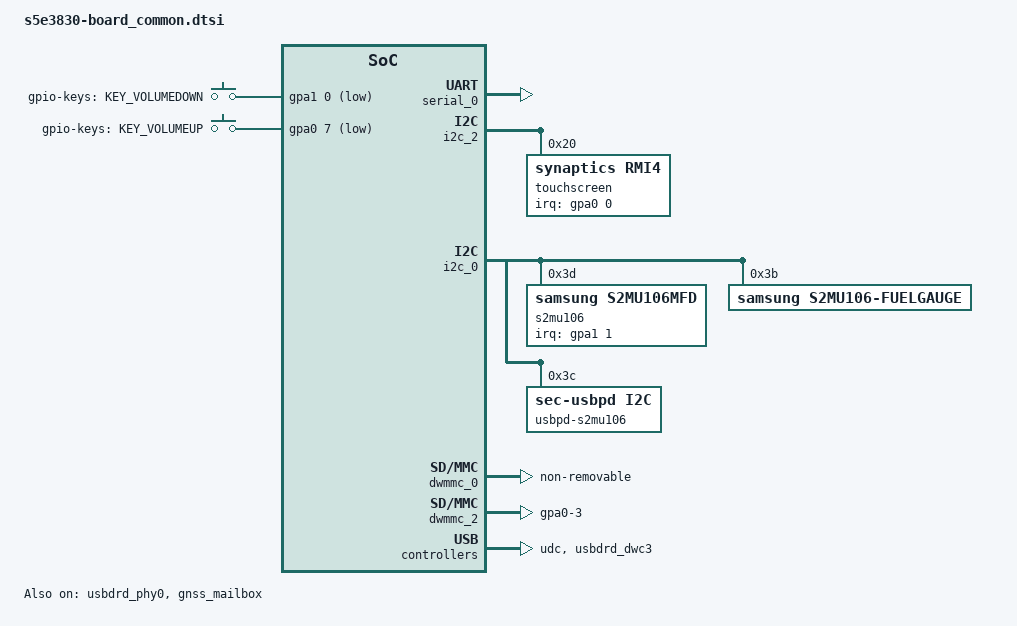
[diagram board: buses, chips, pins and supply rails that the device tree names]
/*
 * SAMSUNG EXYNOS9630 board common device tree source
 *
 * Copyright (c) 2019 Samsung Electronics Co., Ltd.
 *              http://www.samsung.com
 *
 * This program is free software; you can redistribute it and/or modify
 * it under the terms of the GNU General Public License version 2 as
 * published by the Free Software Foundation.
 */



/dts-v1/;
/plugin/;

#include <dt-bindings/interrupt-controller/s5e3830.h>
#include "erd3830-pmic.dtsi"
#include "battery_data_erd3830_common_s2mu106.dtsi"
//#include "s5e3830-erd3830-cp-s318ap-sit.dtsi"
#include "s5e3830-univ3830-cp-s318ap-sipc.dtsi"

/ {
        fragment@model {
                target-path = "/";
                __overlay__ {
                        #address-cells = <2>;
                        #size-cells = <1>;

                        gpio_keys {
                                status = "okay";
                                compatible = "gpio-keys";
                                pinctrl-names = "default";
                                pinctrl-0 = <&key_voldown &key_volup>;

                                button@1 {
                                        label = "gpio-keys: KEY_VOLUMEDOWN";
                                        linux,code = <114>;
                                        gpios = <&gpa1 0 0xf>;
                                };
                                button@2 {
                                        label = "gpio-keys: KEY_VOLUMEUP";
                                        linux,code = <115>;
                                        gpios = <&gpa0 7 0xf>;
                                };
                        };

			ifconn {
				status = "okay";
				compatible = "samsung,ifconn";
				ifconn,usbpd = "s2mu106";
				ifconn,muic = "s2mu106-muic";
			};

			dummy_audio_codec: audio-codec-dummy {
				compatible = "snd-soc-dummy";
				#sound-dai-cells = <0>;
			};

			sound {
				compatible = "samsung,exynos-sound";

				samsung,routing = "ABOX SPDY Capture", "VINPUT_FM",
					"BLUETOOTH SPK", "ABOX UAIF2 Playback",
					"ABOX UAIF2 Capture", "BLUETOOTH MIC",
					"ECHO SPK", "ABOX ECHO Playback",
					"ABOX ECHO Capture", "ECHO MIC",
					"FWD SPK", "ABOX FWD Playback",
					"ABOX FWD Capture", "FWD MIC";

				samsung,aux = <&abox_tplg>;

				rdma0 {
					cpu {
						sound-dai = <&abox_rdma_0 0>;
					};
					platform {
						sound-dai = <&abox_rdma_0 0>;
					};
				};
				rdma1 {
					cpu {
						sound-dai = <&abox_rdma_1 0>;
					};
					platform {
						sound-dai = <&abox_rdma_1 0>;
					};
				};
				rdma2 {
					cpu {
						sound-dai = <&abox_rdma_2 0>;
					};
					platform {
						sound-dai = <&abox_rdma_2 0>;
					};
				};
				rdma3 {
					cpu {
						sound-dai = <&abox_rdma_3 0>;
					};
					platform {
						sound-dai = <&abox_rdma_3 0>;
					};
				};
				rdma4 {
					cpu {
						sound-dai = <&abox_rdma_4 0>;
					};
					platform {
						sound-dai = <&abox_rdma_4 0>;
					};
				};
				rdma5 {
					cpu {
						sound-dai = <&abox_rdma_5 0>;
					};
					platform {
						sound-dai = <&abox_rdma_5 0>;
					};
				};
				rdma6 {
					cpu {
						sound-dai = <&abox_rdma_6 0>;
					};
					platform {
						sound-dai = <&abox_rdma_6 0>;
					};
				};
				rdma7 {
					cpu {
						sound-dai = <&abox_rdma_7 0>;
					};
					platform {
						sound-dai = <&abox_rdma_7 0>;
					};
				};
				rdma8 {
					cpu {
						sound-dai = <&abox_rdma_8 0>;
					};
					platform {
						sound-dai = <&abox_rdma_8 0>;
					};
				};
				rdma9 {
					cpu {
						sound-dai = <&abox_rdma_9 0>;
					};
					platform {
						sound-dai = <&abox_rdma_9 0>;
					};
				};
				rdma10 {
					cpu {
						sound-dai = <&abox_rdma_10 0>;
					};
					platform {
						sound-dai = <&abox_rdma_10 0>;
					};
				};
				rdma11 {
					cpu {
						sound-dai = <&abox_rdma_11 0>;
					};
					platform {
						sound-dai = <&abox_rdma_11 0>;
					};
				};
				wdma0 {
					cpu {
						sound-dai = <&abox_wdma_0 0>;
					};
					platform {
						sound-dai = <&abox_wdma_0 0>;
					};
				};
				wdma1 {
					cpu {
						sound-dai = <&abox_wdma_1 0>;
					};
					platform {
						sound-dai = <&abox_wdma_1 0>;
					};
				};
				wdma2 {
					cpu {
						sound-dai = <&abox_wdma_2 0>;
					};
					platform {
						sound-dai = <&abox_wdma_2 0>;
					};
				};
				wdma3 {
					cpu {
						sound-dai = <&abox_wdma_3 0>;
					};
					platform {
						sound-dai = <&abox_wdma_3 0>;
					};
				};
				wdma4 {
					cpu {
						sound-dai = <&abox_wdma_4 0>;
					};
					platform {
						sound-dai = <&abox_wdma_4 0>;
					};
				};
				dual0 {
					cpu {
						sound-dai = <&abox_dual_0>;
					};
					platform {
						sound-dai = <&abox_dual_0>;
					};
				};
				dual1 {
					cpu {
						sound-dai = <&abox_dual_1>;
					};
					platform {
						sound-dai = <&abox_dual_1>;
					};
				};
				dual2 {
					cpu {
						sound-dai = <&abox_dual_2>;
					};
					platform {
						sound-dai = <&abox_dual_2>;
					};
				};
				dual3 {
					cpu {
						sound-dai = <&abox_dual_3>;
					};
					platform {
						sound-dai = <&abox_dual_3>;
					};
				};
				dual4 {
					cpu {
						sound-dai = <&abox_dual_4>;
					};
					platform {
						sound-dai = <&abox_dual_4>;
					};
				};
				ddma0 {
					cpu {
						sound-dai = <&abox_ddma_0>;
					};
					platform {
						sound-dai = <&abox_ddma_0>;
					};
				};
				ddma1 {
					cpu {
						sound-dai = <&abox_ddma_1>;
					};
					platform {
						sound-dai = <&abox_ddma_1>;
					};
				};
				ddma2 {
					cpu {
						sound-dai = <&abox_ddma_2>;
					};
					platform {
						sound-dai = <&abox_ddma_2>;
					};
				};
				ddma3 {
					cpu {
						sound-dai = <&abox_ddma_3>;
					};
					platform {
						sound-dai = <&abox_ddma_3>;
					};
				};
				ddma4 {
					cpu {
						sound-dai = <&abox_ddma_4>;
					};
					platform {
						sound-dai = <&abox_ddma_4>;
					};
				};
				ddma5 {
					cpu {
						sound-dai = <&abox_ddma_5>;
					};
					platform {
						sound-dai = <&abox_ddma_5>;
					};
				};
				uaif0 {
					format = "i2s";
					cpu {
						sound-dai = <&abox_uaif_0>;
					};
					/*
					codec {
						sound-dai = <&codec_aud3004x>;
					};
					*/
				};
				uaif1 {
					format = "i2s";
					cpu {
						sound-dai = <&abox_uaif_1>;
					};
					/*
					codec {
						sound-dai = <&sma1303_amp>;
					};
					*/
				};
				uaif2 {
					format = "i2s";
					cpu {
						sound-dai = <&abox_uaif_2>;
					};
				};
				spdy {
					cpu {
						sound-dai = <&abox_spdy>;
					};
				};
				sifs0 {
					cpu {
						sound-dai = <&abox 0>;
					};
				};
				sifs1 {
					cpu {
						sound-dai = <&abox 1>;
					};
				};
				sifs2 {
					cpu {
						sound-dai = <&abox 2>;
					};
				};
				sifs3 {
					cpu {
						sound-dai = <&abox 3>;
					};
				};
				sifs4 {
					cpu {
						sound-dai = <&abox 4>;
					};
				};
				sifs5 {
					cpu {
						sound-dai = <&abox 5>;
					};
				};
				nsrc0 {
					cpu {
						sound-dai = <&abox 8>;
					};
				};
				nsrc1 {
					cpu {
						sound-dai = <&abox 9>;
					};
				};
				nsrc2 {
					cpu {
						sound-dai = <&abox 10>;
					};
				};
				nsrc3 {
					cpu {
						sound-dai = <&abox 11>;
					};
				};
				nsrc4 {
					cpu {
						sound-dai = <&abox 12>;
					};
				};
				rdma0_be {
					cpu {
						sound-dai = <&abox_rdma_0 1>;
					};
					platform {
						sound-dai = <&abox_rdma_0 1>;
					};
				};
				rdma1_be {
					cpu {
						sound-dai = <&abox_rdma_1 1>;
					};
					platform {
						sound-dai = <&abox_rdma_1 1>;
					};
				};
				rdma2_be {
					cpu {
						sound-dai = <&abox_rdma_2 1>;
					};
					platform {
						sound-dai = <&abox_rdma_2 1>;
					};
				};
				rdma3_be {
					cpu {
						sound-dai = <&abox_rdma_3 1>;
					};
					platform {
						sound-dai = <&abox_rdma_3 1>;
					};
				};
				rdma4_be {
					cpu {
						sound-dai = <&abox_rdma_4 1>;
					};
					platform {
						sound-dai = <&abox_rdma_4 1>;
					};
				};
				rdma5_be {
					cpu {
						sound-dai = <&abox_rdma_5 1>;
					};
					platform {
						sound-dai = <&abox_rdma_5 1>;
					};
				};
				rdma6_be {
					cpu {
						sound-dai = <&abox_rdma_6 1>;
					};
					platform {
						sound-dai = <&abox_rdma_6 1>;
					};
				};
				rdma7_be {
					cpu {
						sound-dai = <&abox_rdma_7 1>;
					};
					platform {
						sound-dai = <&abox_rdma_7 1>;
					};
				};
				rdma8_be {
					cpu {
						sound-dai = <&abox_rdma_8 1>;
					};
					platform {
						sound-dai = <&abox_rdma_8 1>;
					};
				};
				rdma9_be {
					cpu {
						sound-dai = <&abox_rdma_9 1>;
					};
					platform {
						sound-dai = <&abox_rdma_9 1>;
					};
				};
				rdma10_be {
					cpu {
						sound-dai = <&abox_rdma_10 1>;
					};
					platform {
						sound-dai = <&abox_rdma_10 1>;
					};
				};
				rdma11_be {
					cpu {
						sound-dai = <&abox_rdma_11 1>;
					};
					platform {
						sound-dai = <&abox_rdma_11 1>;
					};
				};
				wdma0_be {
					cpu {
						sound-dai = <&abox_wdma_0 1>;
					};
					platform {
						sound-dai = <&abox_wdma_0 1>;
					};
				};
				wdma1_be {
					cpu {
						sound-dai = <&abox_wdma_1 1>;
					};
					platform {
						sound-dai = <&abox_wdma_1 1>;
					};
				};
				wdma2_be {
					cpu {
						sound-dai = <&abox_wdma_2 1>;
					};
					platform {
						sound-dai = <&abox_wdma_2 1>;
					};
				};
				wdma3_be {
					cpu {
						sound-dai = <&abox_wdma_3 1>;
					};
					platform {
						sound-dai = <&abox_wdma_3 1>;
					};
				};
				wdma4_be {
					cpu {
						sound-dai = <&abox_wdma_4 1>;
					};
					platform {
						sound-dai = <&abox_wdma_4 1>;
					};
				};
				usb {
					cpu {
						sound-dai = <&abox 16>;
					};
				};
				echo {
					cpu {
						sound-dai = <&abox 17>;
					};
				};
				fwd {
					cpu {
						sound-dai = <&abox 18>;
					};
				};
			}; /* end of soundcard */

			usb_hs_tune:hs_tune {
				hs_tune_cnt = <7>;
				/* value = <device host> */
				hs_tune1 {
					tune_name = "tx_pre_emp";
					tune_value = <0x3 0x3>;
				};

				hs_tune2 {
					tune_name = "tx_vref";
					tune_value = <0xd 0xd>;
				};

				hs_tune3 {
					tune_name = "rx_sqrx";
					tune_value = <0x7 0x7>;
				};

				hs_tune4 {
					tune_name = "utmi_clk";
					tune_value = <0x1 0x1>;
				};

				hs_tune5 {
					tune_name = "compdis";
					tune_value = <0x7 0x7>;
				};

				hs_tune6 {
					tune_name = "tx_res";
					tune_value = <0x1 0x1>;
				};

				hs_tune7 {
					tune_name = "tx_rise";
					tune_value = <0x1 0x1>;
				};
			};
			gnss_mailbox: gnss_mailbox {
				status = "okay";
				compatible = "samsung,exynos-gnss-mailbox";

				reg = <0x0 0x11980000 0x180>; /* MAILBOX AP2GNSS */

				interrupt-parent = <&gic>;
				interrupts = <GIC_SPI INTREQ__MAILBOX_GNSS2AP IRQ_TYPE_LEVEL_HIGH>;

				mbox,name = "gnss_mailbox";
				mbox,id = <0>;

				num_shared_reg = <0>;
				shared_reg_offset = <0x000>;
				use_sw_reset_reg = <0>;

			};

			gnssif {
				status = "okay";
				compatible = "samsung,exynos-gnss";

				interrupt-parent = <&gic>;
				interrupts = <GIC_SPI INTREQ__ALIVE_GNSS_ACTIVE IRQ_TYPE_LEVEL_HIGH>,
						<GIC_SPI INTREQ__GNSS_WDOG_RESET IRQ_TYPE_EDGE_RISING>,
						<GIC_SPI INTREQ__GNSS_WAKEUP_INT IRQ_TYPE_LEVEL_HIGH>,
						<GIC_SPI INTREQ__GNSS_SW_INT IRQ_TYPE_EDGE_RISING>;
				interrupt-names = "ACTIVE", "WATCHDOG", "WAKEUP", "SW_INIT";
				shmem,name = "KEPLER";
				device_node_name = "gnss_ipc";

				/* Mailbox */
				mbox_info = <&gnss_mailbox>;

				/* ap2gnss */
				mbx,int_bcmd = <0>;
				mbx,int_req_fault_info = <1>;
				mbx,int_ipc_msg = <2>;
				mbx,int_ack_wake_set = <3>;
				mbx,int_ack_wake_clr = <4>;

				/* gnss2ap */
				mbx,irq_bcmd = <0>;
				mbx,irq_rsp_fault_info = <1>;
				mbx,irq_ipc_msg = <2>;
				mbx,irq_req_wake_clr = <4>;
				mbx,irq_simple_lock = <15>;

				mbx,reg_bcmd_ctrl = <0>, <1>, <2>, <3>;

				/* Memory */
				memory-region = <&gnss_rmem>;

				reg_rx_ipc_msg = <1 5>;
				reg_tx_ipc_msg = <1 4>;
				reg_rx_head = <1 3>;
				reg_rx_tail = <1 2>;
				reg_tx_head = <1 1>;
				reg_tx_tail = <1 0>;
				fault_info = <1 0x200000 0x180000>;

				shmem,code_offset = <0x00000000>;
				shmem,code_allowed_size = <0x00380000>;
				shmem,ipc_offset = <0x00380000>;
				shmem,ipc_size = <0x00080000>;

				shmem,ipc_rx_offset = <0x00000000>;
				shmem,ipc_rx_size = <0x00040000>;
				shmem,ipc_tx_offset = <0x00040000>;
				shmem,ipc_tx_size = <0x0003FF80>;
				shmem,ipc_reg_offset = <0x0007FF80>;
				shmem,ipc_reg_size = <0x00000080>; /* can afford 32 regs */

				shmem,base_addr = <0x60000000>;
				shmem,base_addr_2nd = <0xA0000000>;

                        };
                };


        };

};

&serial_0 {
        status = "okay";
};

&i2c_2 {
	status = "okay";
	#address-cells = <1>;
	#size-cells = <0>;
	touchscreen@20 {
		compatible = "synaptics,rmi4";
		reg = <0x20>;
		pinctrl-names = "on_state", "off_state";
		pinctrl-0 = <&attn_irq &vdd_on>;
		pinctrl-1 = <&attn_input &vdd_off>;
		synaptics,irq_gpio = <&gpa0 0 0>;
		synaptics,irq_type = <8200>;
		synaptics,max_coords = <1440 2560>;     /* x y */
		synaptics,num_lines = <29 16>;          /* rx tx */
		synaptics,regulator_avdd = "vdd_ldo27";
	};
};

&pinctrl_0 {
	attn_irq: attn-irq {
		samsung,pins = "gpa0-0";
		samsung,pin-function = <0xf>;
		samsung,pin-pud = <0>;
		samsung,pin-drv = <0>;
	};

	attn_input: attn-input {
		samsung,pins = "gpa0-0";
		samsung,pin-function = <0>;
		samsung,pin-pud = <1>;
	};
	key_voldown: key-voldown {
               samsung,pins = "gpa1-0";
               samsung,pin-function = <0xf>;
               samsung,pin-pud = <0>;
               samsung,pin-drv = <0>;
	};

	dwmmc2_cd_ext_irq: dwmmc2_cd_ext_irq {
		samsung,pins = "gpa0-3";
		samsung,pin-function = <0xf>;
		samsung,pin-pud = <0>;
		samsung,pin-drv = <4>;
	};

	key_volup: key-volup {
               samsung,pins = "gpa0-7";
               samsung,pin-function = <0xf>;
               samsung,pin-pud = <0>;
               samsung,pin-drv = <0>;
	};

	if_pmic_irq: if-pmic-irq {
		samsung,pins = "gpa1-1";
		samsung,pin-function = <0>;
		samsung,pin-pud = <0>;
		samsung,pin-drv = <0>;
	};

	usbpd_irq: usbpd-irq {
		samsung,pins = "gpa0-2";
		samsung,pin-function = <0>;
		samsung,pin-pud = <2>;
		samsung,pin-drv = <0>;
	};
};

&pinctrl_5 {
	vdd_on: vdd-on {
		samsung,pins = "gpg2-6";
		samsung,pin-function = <1>;
		samsung,pin-val = <1>;
		samsung,pin-pud = <3>;
		samsung,pin-drv = <3>;
	};

	vdd_off: vdd-off {
		samsung,pins = "gpg2-6";
		samsung,pin-functon = <1>;
		samsung,pin-val = <0>;
		samsung,pin-pud = <1>;
		samsung,pin-drv = <3>;
	};
};

&i2c_0 {
	#address-cells = <1>;
	#size-cells = <0>;
	status = "okay";
	s2mu106@3D {
		compatible = "samsung,s2mu106mfd";
		reg = <0x3D>;
		pinctrl-names = "default";
		pinctrl-0 = <&if_pmic_irq>;
		s2mu106,irq-gpio = <&gpa1 1 0>;
		s2mu106,wakeup;
	};

	flash_led {
		status = "okay";
		default_current = <50>;
		max_current = <200>;
		default_timer = <0>;

		s2mu106-channel1 {
			id = <0>;
		};

		s2mu106-channel2 {
			id = <1>;
		};

		s2mu106-channel3 {
			id = <2>;
		};

	};

	s2mu106-fuelgauge@3B {
		compatible = "samsung,s2mu106-fuelgauge";
		reg = <0x3B>;
		pinctrl-names = "default";
		fuelgauge,fuel_alert_vol = <3400>;
		fuelgauge,fuel_alert_soc = <1>;
		fuelgauge,type_str = "SDI";
		fuelgauge,model_type = <1>;
	};

	s2mu106-charger {
		 status = "okay";
		 battery,charger_name = "s2mu106-charger";
		 battery,chg_gpio_en = <0>;
		 battery,chg_polarity_en = <0>;
		 battery,chg_gpio_status = <0>;
		 battery,chg_polarity_status = <0>;
		 battery,chg_float_voltage = <4350>;
		 battery,chg_recharge_vcell = <4250>;
		 battery,chg_full_vcell = <4300>;
		 battery,full_check_type = <2>;
		 battery,full_check_type_2nd = <2>;
		 battery,input_current_limit = <
			 500 450 500 1200 500 1200 1200 1000 1000 1000
			 1000 500 500 1200 1000 500 450>;
		 battery,fast_charging_current =	<
			 500 450 500 1200 500 1200 1200 1000 1000 1000
			 1000 500 500 1200 1000 500 450>;
		 battery,full_check_current_1st = <
			 300 0 300 300 300 300 300 300 300 300
			 300 300 300 300 300 300 0>;
		 battery,full_check_current_2nd = <
			 100 0 100 100 100 100 100 100 100 100
			 100 100 100 100 100 100 0>;
	 };

	usbpd-s2mu106@3C {
		compatible = "sec-usbpd,i2c";
		reg = <0x3C>;
		pinctrl-names = "default";
		pinctrl-0 = <&usbpd_irq>;
		usbpd,usbpd_int = <&gpa0 2 0>;

		pdic-manager {
			/* sink */
			pdic,max_power = <5000>;
			pdic_op_power = <2500>;
			pdic_max_voltage = <6000>;
			pdic_max_current = <2000>;
			pdic,min_current = <500>;

			pdic,giveback = <0>;
			pdic,usb_com_capable = <1>;
			pdic,no_usb_suspend = <1>;

			/* source */
			source,max_voltage = <5000>;
			source,min_voltage = <4000>;
			source,max_power = <2500>;

			/* sink cap */
			sink,capable_max_voltage = <5000>;
		};
	};
};

&dwmmc_0 {
	#address-cells = <1>;
	#size-cells = <0>;
	status = "okay";
	num-slots = <1>;
	broken-cd;
	fixed_voltage;
	//supports-highspeed;
	//mmc-ddr-1_8v;
	//mmc-hs200-1_8v;
	//mmc-hs400-1_8v;
	supports-8bit;
	supports-cmd23;
	supports-erase;
	//mmc-hs400-enhanced-strobe;
	card-init-hwacg-ctrl;
	qos-dvfs-level = <334000>;
	enable-ulp-mode;
	support-cmdq;
	//mmc-inline-crypt;
	fifo-depth = <0x40>;
	non-removable;
	use-runtime-pm;
	desc-size = <4>;
	card-detect-delay = <200>;
	samsung,dw-mshc-ciu-div = <3>;
	samsung,dw-mshc-txdt-crc-timer-fastlimit = <0x34>;
	samsung,dw-mshc-txdt-crc-timer-initval = <0x38>;
	samsung,dw-mshc-hs400-tx-delay-line = <0x40>;
	samsung,dw-mshc-hs400-delay-line = <0x60>;
	samsung,dw-mshc-sdr-timing = <3 0 4 0>;
	samsung,dw-mshc-ddr-timing = <3 0 4 2>;
	samsung,dw-mshc-hs200-timing = <3 0 3 0>;
	samsung,dw-mshc-hs400-timing = <1 0 2 0>;
	samsung,dw-mshc-hs400-ulp-timing = <3 0 4 2>;

	num-ref-clks = <12>;
	ciu_clkin = <25 50 50 25 50 100 200 50 50 200 200 200>;

	/* Swapping clock drive strength */
	clk-drive-number = <4>;
	pinctrl-names = "default",
		"fast-slew-rate-1x",
		"fast-slew-rate-2x",
		"fast-slew-rate-3x",
		"fast-slew-rate-4x";
	pinctrl-0 = <&sd0_clk &sd0_cmd &sd0_rdqs &sd0_nreset &sd0_bus1 &sd0_bus4 &sd0_bus8>;
	pinctrl-1 = <&sd0_clk_fast_slew_rate_1x>;
	pinctrl-2 = <&sd0_clk_fast_slew_rate_2x>;
	pinctrl-3 = <&sd0_clk_fast_slew_rate_3x>;
	pinctrl-4 = <&sd0_clk_fast_slew_rate_4x>;

	slot@0 {
		reg = <0>;
		bus-width = <8>;
	};
};

&dwmmc_2 {
	#address-cells = <1>;
	#size-cells = <0>;
	status = "okay";
	num-slots = <1>;
	supports-4bit;
	supports-cmd23;
	supports-erase;
	supports-highspeed;
	sd-uhs-sdr50;
	sd-uhs-sdr104;
	card-detect-gpio;
	bypass-for-allpass;
	use-fine-tuning;
	card-init-hwacg-ctrl;
	skip-init-mmc-scan;
	use-runtime-pm;
	skip-init-no-tray;
	fifo-depth = <0x40>;
	desc-size = <4>;
	card-detect-delay = <400>;
	samsung,dw-mshc-ciu-div = <3>;
	clock-frequency = <800000000>;
	samsung,dw-mshc-sdr-timing = <3 0 2 0>;
	samsung,dw-mshc-ddr-timing = <3 0 2 1>;
	samsung,dw-mshc-sdr50-timing = <3 0 4 2>;
	samsung,dw-mshc-sdr104-timing = <3 0 3 0>;

	num-ref-clks = <9>;
	ciu_clkin = <25 50 50 25 50 100 200 50 50>;

	/* Swapping clock drive strength */
	clk-drive-number = <6>;
	pinctrl-names = "init",
		"fast-slew-rate-1x",
		"fast-slew-rate-1_5x",
		"fast-slew-rate-2x",
		"fast-slew-rate-2_5x",
		"fast-slew-rate-3x",
		"fast-slew-rate-4x",
		"pins-as-pdn",
		"pins-as-func";
	pinctrl-0 = <&sd2_clk &sd2_cmd &sd2_bus1 &sd2_bus4 &dwmmc2_cd_ext_irq>;
	pinctrl-1 = <&sd2_clk_fast_slew_rate_1x>;
	pinctrl-2 = <&sd2_clk_fast_slew_rate_1_5x>;
	pinctrl-3 = <&sd2_clk_fast_slew_rate_2x>;
	pinctrl-4 = <&sd2_clk_fast_slew_rate_2_5x>;
	pinctrl-5 = <&sd2_clk_fast_slew_rate_3x>;
	pinctrl-6 = <&sd2_clk_fast_slew_rate_4x>;
	pinctrl-7 = <&sd2_pins_as_pdn>;
	pinctrl-8 = <&sd2_clk &sd2_cmd &sd2_bus1 &sd2_bus4>;

	card-detect = <&gpa0 3 0xf>;
	slot@0 {
		reg = <0>;
		bus-width = <4>;
		disable-wp;
	};

	mmc-pmu-pad {
		offset = <0x1CA0>;
		mask = <0x800>;
		val = <0x800>;
	};
};

&panel_0 {
	/* reset, power(ldo_en) */
	gpios = <&gpg2 5 0x1>, <&gpg1 1 0x1>;
	/* ldo28, buck5 */
	regulator_1p8v = "vdd_ldo28";
};

&udc {
	status = "okay";
	lazy-vbus-up;
	dwc3 {
		dr_mode = "peripheral";
		maximum-speed = "high-speed";
	};
};

&usbdrd_dwc3 {
	status = "okay";
	maximum-speed = "high-speed";
	usb_audio_offloading = <0>;
	xhci_l2_support = <0>;
	xhci_use_uram_for_audio = <0>;
//	vdd33_usb-supply = <&s_l8_reg>;
};

&usbdrd_phy0 {
	status = "okay";
	use_default_tune_val = <0x1>;
	hs_tune_param = <&usb_hs_tune>;
//	vdd33_usb-supply = <&s_l8_reg>;
};

